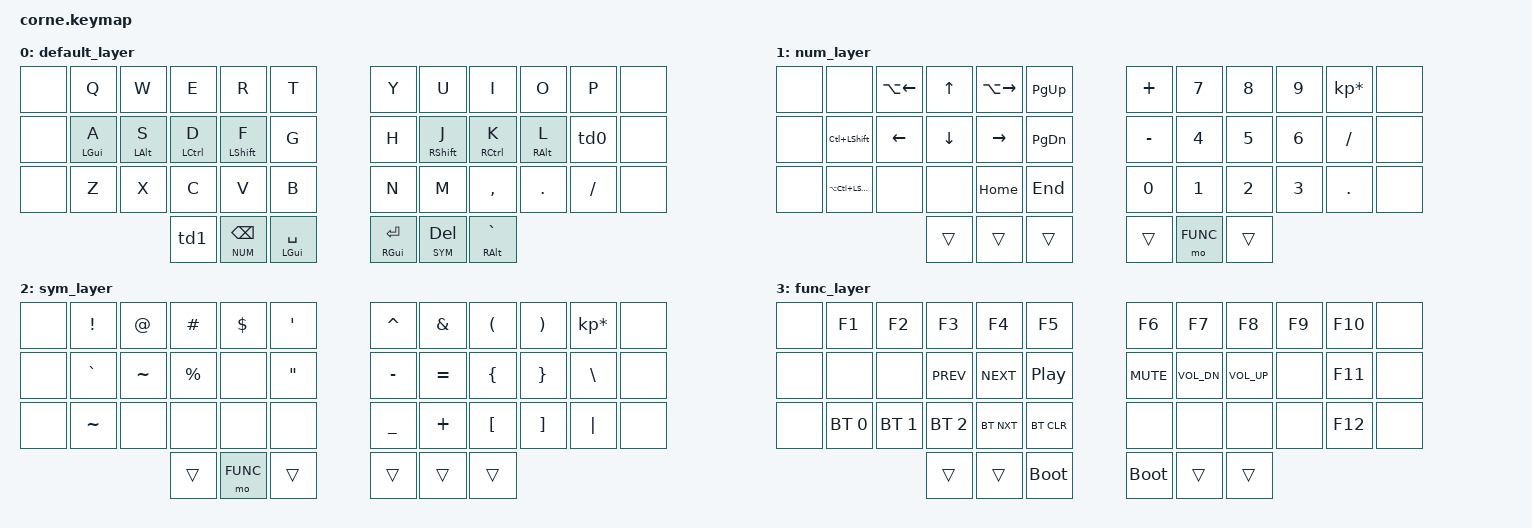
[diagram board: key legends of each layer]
/*
 * Copyright (c) 2020 The ZMK Contributors
 *
 * SPDX-License-Identifier: MIT
 */

#include <dt-bindings/zmk/keys.h>
#include <dt-bindings/zmk/bt.h>
#include <dt-bindings/zmk/ext_power.h>
#include <behaviors.dtsi>

// LAYERS
#define DEFAULT 0
#define NUM     1
#define SYM     2
#define FUNC    3

// MACROS
#define SUPER LC(LSHIFT)
#define SUPER2 LA(LC(LSHIFT))

&mt {
  tapping-term-ms = <200>;
  flavor = "tap-preferred";
};

/ {
  behaviors {
    hm: homerow_mods {
      compatible = "zmk,behavior-hold-tap";
      label = "HOMEROW_MODS";
      #binding-cells = <2>;
      tapping-term-ms = <250>;
      quick-tap-ms = <0>;
      flavor = "tap-preferred";
      bindings = <&kp>, <&kp>;
    };

    td0: tap_dance_0 {
      compatible = "zmk,behavior-tap-dance";
      label = "TAP_DANCE_0";
      #binding-cells = <0>;
      tapping-term-ms = <200>;
      bindings = <&hm RGUI SEMI>, <&kp SQT>;
    };

    td1: tap_dance_1 {
      compatible = "zmk,behavior-tap-dance";
      label = "TAP_DANCE_1";
      #binding-cells = <0>;
      tapping-term-ms = <200>;
      bindings = <&mt LCTRL TAB>, <&kp ESC>;
    };
  };

  combos {
    compatible = "zmk,combos";
    combo_cword {
      timeout-ms = <50>;
      key-positions = <16 19>;
      bindings = <&caps_word>;
    };

    combo_vimwq {
      timeout-ms = <50>;
      key-positions = <1 2>;
      bindings = <&vim_quit>;
    };
  };

  macros {
        vim_quit: vim_quit {
            label = "ZM_vim_quit";
            compatible = "zmk,behavior-macro";
            #binding-cells = <0>;
            bindings
                = <&macro_tap &kp ESC &kp COLON &kp W &kp Q>;
        };
    };

  keymap {
    compatible = "zmk,keymap";

    default_layer {
      bindings = <

&none   /**/  &kp Q           &kp W       &kp E       &kp R           &kp T   /**/  &kp Y    &kp U           &kp I       &kp O       &kp P          /**/  &none
&none   /**/  &hm LGUI A      &hm LALT S  &hm LCTRL D &hm LSHIFT F    &kp G   /**/  &kp H    &hm RSHIFT J    &hm RCTRL K &hm RALT L  &td0           /**/  &none
&none   /**/  &kp Z           &kp X       &kp C       &kp V           &kp B   /**/  &kp N    &kp M           &kp COMMA   &kp DOT     &kp FSLH       /**/  &none
                                           &td1  &lt NUM BSPC &mt LGUI SPACE  /**/  &mt RGUI RET &lt SYM DEL &mt RALT GRAVE

      >;
    };

    num_layer {
      bindings = <

&none   /**/  &none         &kp LA(LEFT)  &kp UP        &kp LA(RIGHT) &kp PG_UP  /**/  &kp PLUS   &kp N7  &kp N8  &kp N9  &kp KP_MULTIPLY  /**/  &none
&none   /**/  &kp SUPER     &kp LEFT      &kp DOWN      &kp RIGHT     &kp PG_DN  /**/  &kp MINUS  &kp N4  &kp N5  &kp N6  &kp SLASH        /**/  &none
&none   /**/  &kp SUPER2    &none         &none         &kp HOME      &kp END    /**/  &kp N0     &kp N1  &kp N2  &kp N3  &kp DOT          /**/  &none
                                                         &trans  &trans  &trans  /**/  &trans  &mo FUNC  &trans

      >;
    };

    sym_layer {
      bindings = <

&none   /**/  &kp EXCL    &kp AT         &kp HASH     &kp DLLR    &kp SQT     /**/  &kp CARET &kp AMPS  &kp LPAR        &kp RPAR &kp KP_MULTIPLY /**/  &none
&none   /**/  &kp GRAVE   &kp TILDE      &kp PRCNT    &none       &kp DQT     /**/  &kp MINUS &kp EQUAL &kp LBRC        &kp RBRC &kp BSLH  /**/  &none
&none   /**/  &kp TILDE   &none          &none        &none       &none       /**/  &kp UNDER &kp PLUS  &kp LBKT        &kp RBKT &kp PIPE  /**/  &none
                                                      &trans &mo FUNC &trans  /**/  &trans &trans &trans

      >;
    };

    func_layer {
      bindings = <

&none   /**/  &kp F1          &kp F2          &kp F3          &kp F4     &kp F5            /**/  &kp F6          &kp F7       &kp F8       &kp F9   &kp F10  /**/  &none
&none   /**/  &none           &none           &kp C_PREV      &kp C_NEXT &kp C_PLAY_PAUSE  /**/  &kp C_MUTE      &kp C_VOL_DN &kp C_VOL_UP &none    &kp F11  /**/  &none
&none   /**/  &bt BT_SEL 0    &bt BT_SEL 1    &bt BT_SEL 2    &bt BT_NXT &bt BT_CLR        /**/  &none           &none        &none        &none    &kp F12  /**/  &none
                                                                &trans &trans &bootloader  /**/  &bootloader &trans &trans

      >;
    };
  };
};

&nice_view_spi { cs-gpios = <&pro_micro 0 GPIO_ACTIVE_HIGH>; };
